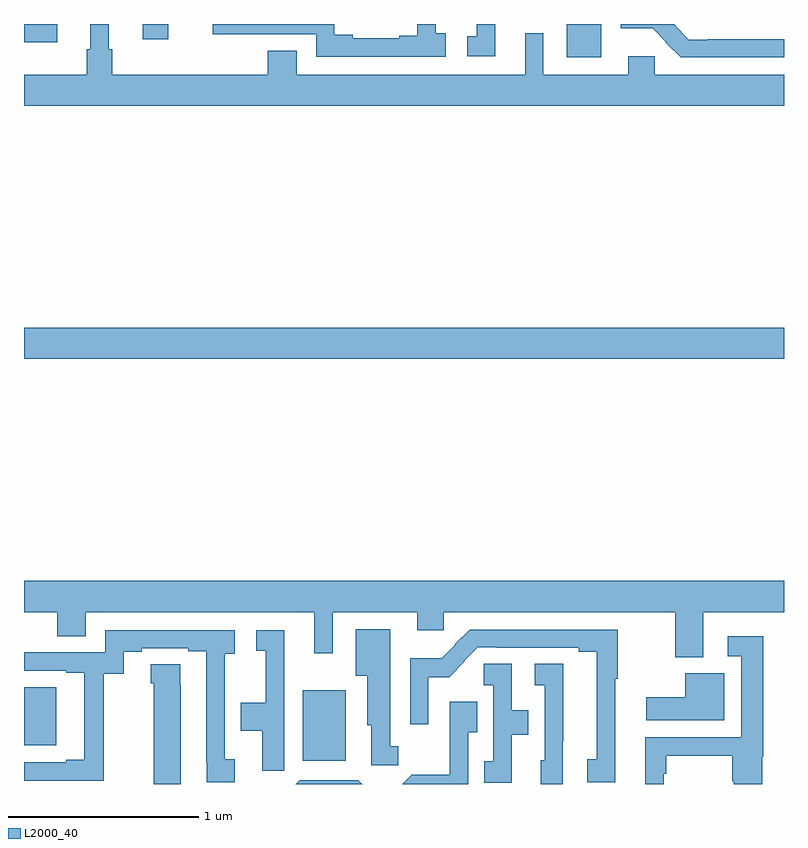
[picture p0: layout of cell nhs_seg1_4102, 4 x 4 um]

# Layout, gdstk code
import gdstk
lib = gdstk.Library(unit=1e-6, precision=1e-09)
def R(c, l, rs):  # rectangles x0, y0, x1, y1
    for r in rs: c.add(gdstk.rectangle(r[:2], r[2:], *l))
def P(c, l, *ps):  # polygons
    for p in ps: c.add(gdstk.Polygon(p, *l))
L2000_40 = (2000, 40)

nhs_seg1_4102 = lib.new_cell('nhs_seg1_4102')
R(nhs_seg1_4102, L2000_40, [(336.467,512.321,336.694,512.692), (335,512.402,335.17,512.707), (335,514.436,339,514.6), (337.856,516.023,338.038,516.199), (335,516.104,335.175,516.199), (335.624,516.12,335.758,516.199)])
P(nhs_seg1_4102, L2000_40, [(337.48,516.199),(337.382,516.199),(337.382,516.135),(337.332,516.135),(337.332,516.03),(337.48,516.03)],
  [(337.219,516.151),(337.167,516.151),(337.167,516.199),(337.07,516.199),(337.07,516.138),(336.974,516.138),(336.974,516.123),(336.73,516.123),(336.73,516.142),(336.634,516.142),(336.634,516.199),(335.994,516.199),(335.994,516.144),(336.537,516.144),(336.537,516.027),(337.219,516.027)],
  [(339,516.12),(338.599,516.12),(338.599,516.117),(338.499,516.117),(338.427,516.189),(338.43,516.192),(338.423,516.199),(338.142,516.199),(338.142,516.177),(338.308,516.177),(338.381,516.104),(338.378,516.101),(338.456,516.024),(339,516.024)],
  [(339,515.932),(338.319,515.932),(338.319,516.028),(338.18,516.028),(338.18,515.932),(337.734,515.932),(337.734,516.151),(337.637,516.151),(337.637,515.932),(336.436,515.932),(336.436,516.059),(336.284,516.059),(336.284,515.932),(335.465,515.932),(335.465,516.066),(335.446,516.066),(335.446,516.199),(335.348,516.199),(335.348,516.066),(335.329,516.066),(335.329,515.932),(335,515.932),(335,515.768),(339,515.768)],
  [(338.575,513.104),(339,513.104),(339,513.268),(335,513.268),(335,513.104),(335.174,513.104),(335.174,512.977),(335.326,512.977),(335.326,513.104),(336.527,513.104),(336.527,512.886),(336.624,512.886),(336.624,513.104),(337.07,513.104),(337.07,513.009),(337.209,513.009),(337.209,513.104),(338.428,513.104),(338.428,512.867),(338.575,512.867)],
  [(336.969,512.397),(336.928,512.397),(336.928,513.013),(336.746,513.013),(336.746,512.768),(336.806,512.768),(336.806,512.508),(336.827,512.508),(336.827,512.298),(336.969,512.298)],
  [(338.113,512.752),(338.125,512.752),(338.125,513.012),(337.346,513.012),(337.268,512.935),(337.271,512.933),(337.198,512.86),(337.032,512.86),(337.032,512.514),(337.128,512.514),(337.128,512.762),(337.237,512.762),(337.32,512.844),(337.317,512.847),(337.389,512.919),(337.489,512.919),(337.489,512.916),(337.919,512.916),(337.919,512.896),(338.015,512.896),(338.015,512.328),(337.965,512.328),(337.965,512.209),(338.113,512.209)],
  [(336.109,512.328),(336.057,512.328),(336.057,512.885),(336.109,512.885),(336.109,513.009),(335.427,513.009),(335.427,512.892),(335,512.892),(335,512.796),(335.222,512.796),(335.222,512.784),(335.318,512.784),(335.318,512.326),(335.222,512.326),(335.222,512.313),(335,512.313),(335,512.217),(335.42,512.217),(335.42,512.78),(335.524,512.78),(335.524,512.895),(335.62,512.895),(335.62,512.913),(335.864,512.913),(335.864,512.898),(335.96,512.898),(335.96,512.317),(335.961,512.317),(335.961,512.209),(336.109,512.209)],
  [(336.37,513.007),(336.222,513.007),(336.222,512.901),(336.272,512.901),(336.272,512.626),(336.142,512.626),(336.142,512.479),(336.254,512.479),(336.254,512.268),(336.37,512.268)],
  [(338.367,512.252),(338.38,512.252),(338.38,512.348),(338.728,512.348),(338.728,512.214),(338.735,512.214),(338.735,512.199),(338.885,512.199),(338.885,512.342),(338.891,512.342),(338.891,512.977),(338.703,512.977),(338.703,512.871),(338.775,512.871),(338.775,512.445),(338.27,512.445),(338.27,512.199),(338.367,512.199)],
  [(337.567,512.458),(337.655,512.458),(337.655,512.587),(337.566,512.587),(337.566,512.831),(337.421,512.831),(337.421,512.72),(337.47,512.72),(337.47,512.318),(337.423,512.318),(337.423,512.205),(337.567,512.205)],
  [(337.836,512.425),(337.838,512.425),(337.838,512.831),(337.689,512.831),(337.689,512.72),(337.74,512.72),(337.74,512.325),(337.721,512.325),(337.721,512.199),(337.836,512.199)],
  [(335.824,512.72),(335.823,512.72),(335.823,512.828),(335.666,512.828),(335.666,512.73),(335.684,512.73),(335.684,512.199),(335.824,512.199)],
  [(338.686,512.782),(338.48,512.782),(338.48,512.656),(338.274,512.656),(338.274,512.534),(338.686,512.534)],
  [(337.338,512.471),(337.385,512.471),(337.385,512.632),(337.242,512.632),(337.242,512.249),(337.04,512.249),(336.99,512.199),(337.338,512.199)],
  [(336.759,512.22),(336.45,512.22),(336.429,512.199),(336.78,512.199)])

lib.write_gds('nhs_seg1_4102.gds')
